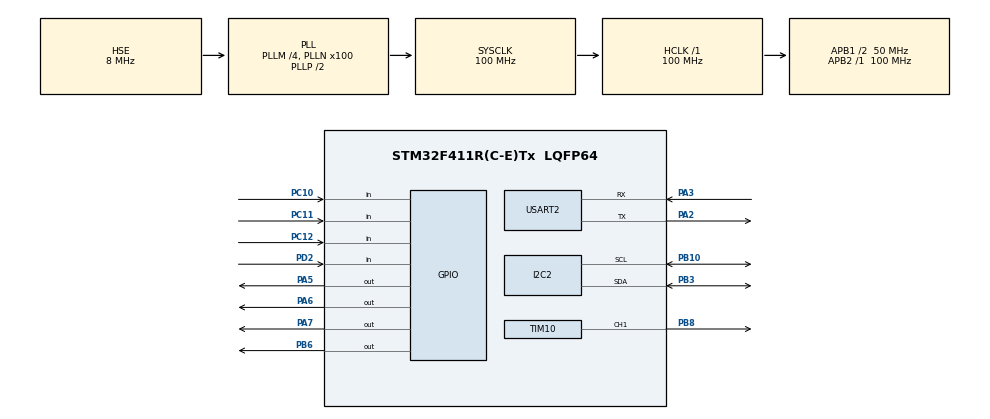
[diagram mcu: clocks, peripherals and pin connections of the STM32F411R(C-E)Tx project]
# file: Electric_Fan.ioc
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Mcu.Family=STM32F4
Mcu.Name=STM32F411R(C-E)Tx
Mcu.Package=LQFP64
NVIC.PriorityGroup=NVIC_PRIORITYGROUP_4
PA13.Mode=Serial_Wire
PA13.Signal=SYS_JTMS-SWDIO
PA14.Mode=Serial_Wire
PA14.Signal=SYS_JTCK-SWCLK
PA2.Mode=Asynchronous
PA2.Signal=USART2_TX
PA3.Mode=Asynchronous
PA3.Signal=USART2_RX
PA5.Signal=GPIO_Output
PA6.Signal=GPIO_Output
PA7.Signal=GPIO_Output
PB10.Mode=I2C
PB10.Signal=I2C2_SCL
PB3.Mode=I2C
PB3.Signal=I2C2_SDA
PB6.Signal=GPIO_Output
PB8.Signal=S_TIM10_CH1
PC10.GPIO_PuPd=GPIO_PULLUP
PC10.Signal=GPIO_Input
PC11.GPIO_PuPd=GPIO_PULLUP
PC11.Signal=GPIO_Input
PC12.GPIO_PuPd=GPIO_PULLUP
PC12.Signal=GPIO_Input
PD2.GPIO_PuPd=GPIO_PULLUP
PD2.Signal=GPIO_Input
PH0\ -\ OSC_IN.Mode=HSE-External-Oscillator
PH0\ -\ OSC_IN.Signal=RCC_OSC_IN
PH1\ -\ OSC_OUT.Mode=HSE-External-Oscillator
PH1\ -\ OSC_OUT.Signal=RCC_OSC_OUT
ProjectManager.HeapSize=0x200
ProjectManager.StackSize=0x400
ProjectManager.TargetToolchain=STM32CubeIDE
RCC.48MHZClocksFreq_Value=50000000
RCC.AHBFreq_Value=100000000
RCC.APB1CLKDivider=RCC_HCLK_DIV2
RCC.APB1Freq_Value=50000000
RCC.APB1TimFreq_Value=100000000
RCC.APB2Freq_Value=100000000
RCC.APB2TimFreq_Value=100000000
RCC.CortexFreq_Value=100000000
RCC.HCLKFreq_Value=100000000
RCC.HSE_VALUE=8000000
RCC.HSI_VALUE=16000000
RCC.LSE_VALUE=32768
RCC.PLLM=4
RCC.PLLN=100
RCC.PLLSourceVirtual=RCC_PLLSOURCE_HSE
RCC.SYSCLKFreq_VALUE=100000000
RCC.SYSCLKSource=RCC_SYSCLKSOURCE_PLLCLK
RCC.VCOOutputFreq_Value=200000000
SH.S_TIM10_CH1.0=TIM10_CH1,PWM Generation1 CH1
TIM10.Channel=TIM_CHANNEL_1
TIM10.Period=1000-1
TIM10.Prescaler=1000-1
USART2.VirtualMode=VM_ASYNC
VP_TIM10_VS_ClockSourceINT.Mode=Enable_Timer
board=custom

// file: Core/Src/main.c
/* USER CODE BEGIN Header */
/**
  ******************************************************************************
  * @file           : main.c
  * @brief          : Main program body
  ******************************************************************************
  * @attention
  *
  * Copyright (c) 2023 STMicroelectronics.
  * All rights reserved.
  *
  * This software is licensed under terms that can be found in the LICENSE file
  * in the root directory of this software component.
  * If no LICENSE file comes with this software, it is provided AS-IS.
  *
  ******************************************************************************
  */
/* USER CODE END Header */
#include "main.h"
#include "i2c.h"
#include "tim.h"
#include "usart.h"
#include "gpio.h"

/* USER CODE BEGIN Includes */

#include "I2C_LCD.h"
#include "stdio.h"

/* USER CODE END Includes */

/* USER CODE BEGIN PV */

int row = 0;
int col = 0;
uint16_t adcValue[2];

/* USER CODE END PV */

void SystemClock_Config(void);

int main(void)
{

  /* MCU Configuration--------------------------------------------------------*/

  /* Reset of all peripherals, Initializes the Flash interface and the Systick. */
  HAL_Init();

  /* Configure the system clock */
  SystemClock_Config();

  /* Initialize all configured peripherals */
  MX_GPIO_Init();
  MX_TIM10_Init();
  MX_USART2_UART_Init();
  MX_I2C2_Init();
  /* USER CODE BEGIN 2 */

  HAL_TIM_Base_Start(&htim10);  // to use timer
  HAL_TIM_PWM_Start(&htim10, TIM_CHANNEL_1);

  lcd_init();
  lcd_put_cur(0, 0);

  /* USER CODE END 2 */

  /* Infinite loop */
  while (1)
  {

    /* USER CODE BEGIN 3 */

    if(!HAL_GPIO_ReadPin(GPIOC, GPIO_PIN_10))
    {
      HAL_GPIO_WritePin(GPIOA, GPIO_PIN_5, 1);
      HAL_GPIO_WritePin(GPIOA, GPIO_PIN_6, 0);
      HAL_GPIO_WritePin(GPIOA, GPIO_PIN_7, 0);
      HAL_GPIO_WritePin(GPIOB, GPIO_PIN_6, 0);

      TIM10 -> CCR1 = 250;
      lcd_put_cur(0, 0);
      lcd_send_string("Power: 1");
    }

    if(!HAL_GPIO_ReadPin(GPIOC, GPIO_PIN_11))
    {
      HAL_GPIO_WritePin(GPIOA, GPIO_PIN_5, 0);
      HAL_GPIO_WritePin(GPIOA, GPIO_PIN_6, 1);
      HAL_GPIO_WritePin(GPIOA, GPIO_PIN_7, 0);
      HAL_GPIO_WritePin(GPIOB, GPIO_PIN_6, 0);

      TIM10 -> CCR1 = 500;
      lcd_put_cur(0, 0);
      lcd_send_string("Power: 2");
    }

    if(!HAL_GPIO_ReadPin(GPIOC, GPIO_PIN_12))
    {
      HAL_GPIO_WritePin(GPIOA, GPIO_PIN_5, 0);
      HAL_GPIO_WritePin(GPIOA, GPIO_PIN_6, 0);
      HAL_GPIO_WritePin(GPIOA, GPIO_PIN_7, 1);
      HAL_GPIO_WritePin(GPIOB, GPIO_PIN_6, 0);

      TIM10 -> CCR1 = 750;
      lcd_put_cur(0, 0);
      lcd_send_string("Power: 3");
    }

    if(!HAL_GPIO_ReadPin(GPIOD, GPIO_PIN_2))
    {
      HAL_GPIO_WritePin(GPIOA, GPIO_PIN_5, 0);
      HAL_GPIO_WritePin(GPIOA, GPIO_PIN_6, 0);
      HAL_GPIO_WritePin(GPIOA, GPIO_PIN_7, 0);
      HAL_GPIO_WritePin(GPIOB, GPIO_PIN_6, 1);

      TIM10 -> CCR1 = 0;
      lcd_init();
      lcd_put_cur(0, 0);
      lcd_send_string("Stop");
    }

  }
  /* USER CODE END 3 */
}

void SystemClock_Config(void)
{
  RCC_OscInitTypeDef RCC_OscInitStruct = {0};
  RCC_ClkInitTypeDef RCC_ClkInitStruct = {0};

  /** Configure the main internal regulator output voltage
  */
  __HAL_RCC_PWR_CLK_ENABLE();
  __HAL_PWR_VOLTAGESCALING_CONFIG(PWR_REGULATOR_VOLTAGE_SCALE1);

  /** Initializes the RCC Oscillators according to the specified parameters
  * in the RCC_OscInitTypeDef structure.
  */
  RCC_OscInitStruct.OscillatorType = RCC_OSCILLATORTYPE_HSE;
  RCC_OscInitStruct.HSEState = RCC_HSE_ON;
  RCC_OscInitStruct.PLL.PLLState = RCC_PLL_ON;
  RCC_OscInitStruct.PLL.PLLSource = RCC_PLLSOURCE_HSE;
  RCC_OscInitStruct.PLL.PLLM = 4;
  RCC_OscInitStruct.PLL.PLLN = 100;
  RCC_OscInitStruct.PLL.PLLP = RCC_PLLP_DIV2;
  RCC_OscInitStruct.PLL.PLLQ = 4;
  if (HAL_RCC_OscConfig(&RCC_OscInitStruct) != HAL_OK)
  {
    Error_Handler();
  }

  /** Initializes the CPU, AHB and APB buses clocks
  */
  RCC_ClkInitStruct.ClockType = RCC_CLOCKTYPE_HCLK|RCC_CLOCKTYPE_SYSCLK
                              |RCC_CLOCKTYPE_PCLK1|RCC_CLOCKTYPE_PCLK2;
  RCC_ClkInitStruct.SYSCLKSource = RCC_SYSCLKSOURCE_PLLCLK;
  RCC_ClkInitStruct.AHBCLKDivider = RCC_SYSCLK_DIV1;
  RCC_ClkInitStruct.APB1CLKDivider = RCC_HCLK_DIV2;
  RCC_ClkInitStruct.APB2CLKDivider = RCC_HCLK_DIV1;

  if (HAL_RCC_ClockConfig(&RCC_ClkInitStruct, FLASH_LATENCY_3) != HAL_OK)
  {
    Error_Handler();
  }
}

void Error_Handler(void)
{
  __disable_irq();
  while (1)
  {
  }
}
